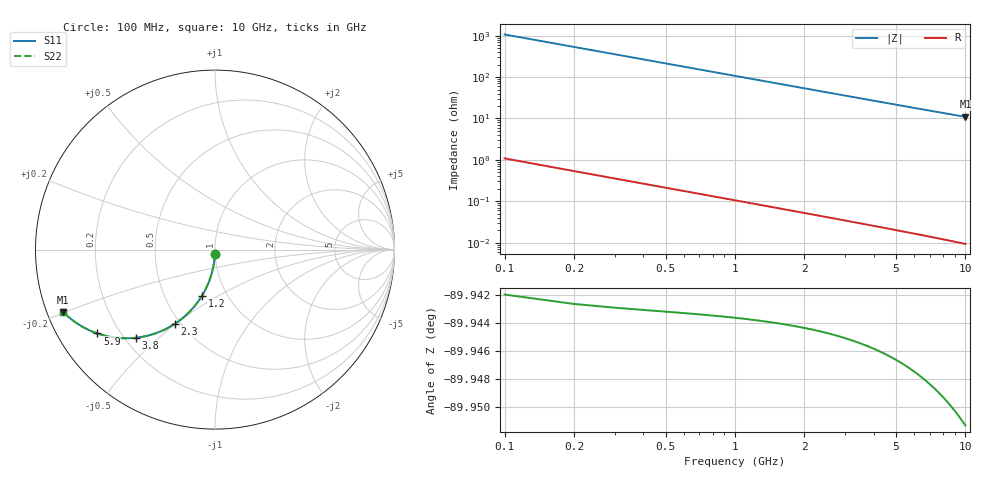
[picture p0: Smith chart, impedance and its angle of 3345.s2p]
# Hz S RI R 50.00
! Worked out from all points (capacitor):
!   100 points, 100 MHz to 10 GHz, reference 50 ohm
!   read as one part in shunt: C = 1.49 pF near 100 MHz
!   lowest |Z| = 11 ohm at 10 GHz (marker M1)
!   S11 on the Smith chart (normalised r, x): 100 MHz: 1.00, -0.05; 1.2 GHz: 0.76, -0.42; 2.3 GHz: 0.47, -0.50; 3.8 GHz: 0.24, -0.42; 5.9 GHz: 0.12, -0.32; 10 GHz: 0.05, -0.20
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1e8  -0.000503 -0.0232  0.9994 -0.0235  0.9994 -0.0235  -0.000503 -0.0232
2e8  -0.00216 -0.0464  0.9977 -0.0469  0.9977 -0.0469  -0.00216 -0.0464
3e8  -0.00489 -0.0694  0.995 -0.0701  0.995 -0.0701  -0.00489 -0.0694
4e8  -0.00868 -0.0921  0.9912 -0.0931  0.9912 -0.0931  -0.00868 -0.0921
5e8  -0.0135 -0.1146  0.9864 -0.1158  0.9864 -0.1158  -0.0135 -0.1146
6e8  -0.0193 -0.1367  0.9805 -0.1382  0.9805 -0.1382  -0.0193 -0.1367
7e8  -0.0261 -0.1584  0.9737 -0.1601  0.9737 -0.1601  -0.0261 -0.1584
9e8  -0.0425 -0.2002  0.9574 -0.2024  0.9574 -0.2024  -0.0425 -0.2002
1.2e9  -0.073 -0.2583  0.9268 -0.2613  0.9268 -0.2613  -0.073 -0.2583
1.5e9  -0.1096 -0.31  0.8903 -0.3138  0.8903 -0.3138  -0.1096 -0.31
1.8e9  -0.1505 -0.3548  0.8494 -0.3594  0.8494 -0.3594  -0.1505 -0.3548
2.3e9  -0.2243 -0.4137  0.7756 -0.4195  0.7756 -0.4195  -0.2243 -0.4137
2.8e9  -0.2999 -0.4542  0.6999 -0.4613  0.6999 -0.4613  -0.2999 -0.4542
3.4e9  -0.3871 -0.4823  0.6127 -0.4909  0.6127 -0.4909  -0.3871 -0.4823
3.8e9  -0.441 -0.4912  0.5588 -0.5008  0.5588 -0.5008  -0.441 -0.4912
4.4e9  -0.5141 -0.4937  0.4857 -0.5049  0.4857 -0.5049  -0.5141 -0.4937
5.1e9  -0.5872 -0.4853  0.4126 -0.4983  0.4126 -0.4983  -0.5872 -0.4853
5.9e9  -0.6557 -0.467  0.344 -0.4821  0.344 -0.4821  -0.6557 -0.467
6.7e9  -0.7109 -0.4442  0.2888 -0.4613  0.2888 -0.4613  -0.7109 -0.4442
7.5e9  -0.7552 -0.4197  0.2445 -0.439  0.2445 -0.439  -0.7552 -0.4197
8.4e9  -0.7949 -0.3923  0.2047 -0.4139  0.2047 -0.4139  -0.7949 -0.3923
1e10  -0.8464 -0.3468  0.1531 -0.3727  0.1531 -0.3727  -0.8464 -0.3468
